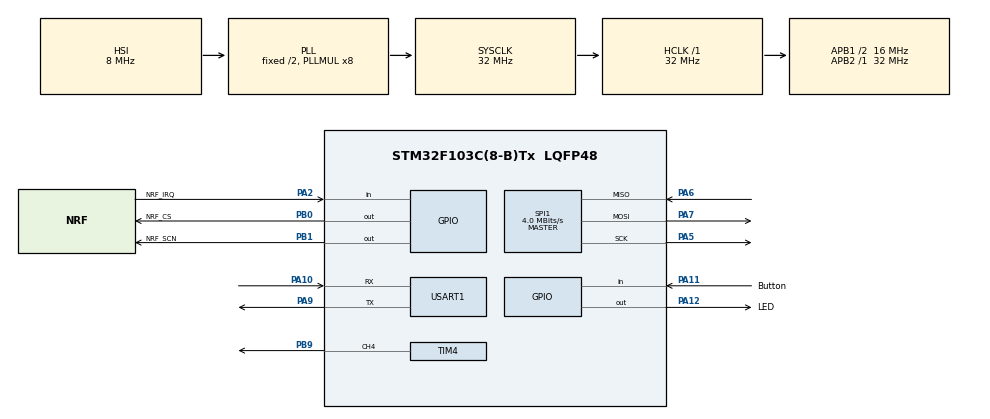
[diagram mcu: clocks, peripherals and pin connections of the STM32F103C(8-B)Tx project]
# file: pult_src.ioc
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Mcu.Family=STM32F1
Mcu.Name=STM32F103C(8-B)Tx
Mcu.Package=LQFP48
NVIC.PriorityGroup=NVIC_PRIORITYGROUP_4
PA10.Mode=Asynchronous
PA10.Signal=USART1_RX
PA11.GPIO_Label=Button
PA11.GPIO_PuPd=GPIO_PULLUP
PA11.Signal=GPIO_Input
PA12.GPIO_Label=LED
PA12.Signal=GPIO_Output
PA13.Mode=Serial_Wire
PA13.Signal=SYS_JTMS-SWDIO
PA14.Mode=Serial_Wire
PA14.Signal=SYS_JTCK-SWCLK
PA2.GPIO_Label=NRF_IRQ
PA2.Signal=GPIO_Input
PA5.Mode=Full_Duplex_Master
PA5.Signal=SPI1_SCK
PA6.Mode=Full_Duplex_Master
PA6.Signal=SPI1_MISO
PA7.Mode=Full_Duplex_Master
PA7.Signal=SPI1_MOSI
PA9.Mode=Asynchronous
PA9.Signal=USART1_TX
PB0.GPIO_Label=NRF_CS
PB0.Signal=GPIO_Output
PB1.GPIO_Label=NRF_SCN
PB1.Signal=GPIO_Output
PB9.Signal=S_TIM4_CH4
ProjectManager.HeapSize=0x200
ProjectManager.StackSize=0x1000
ProjectManager.TargetToolchain=SW4STM32
RCC.AHBFreq_Value=32000000
RCC.APB1CLKDivider=RCC_HCLK_DIV2
RCC.APB1Freq_Value=16000000
RCC.APB1TimFreq_Value=32000000
RCC.APB2Freq_Value=32000000
RCC.APB2TimFreq_Value=32000000
RCC.HCLKFreq_Value=32000000
RCC.PLLMUL=RCC_PLL_MUL8
RCC.SYSCLKFreq_VALUE=32000000
RCC.SYSCLKSource=RCC_SYSCLKSOURCE_PLLCLK
RCC.USBFreq_Value=32000000
SH.S_TIM4_CH4.0=TIM4_CH4,PWM Generation4 CH4
SPI1.BaudRatePrescaler=SPI_BAUDRATEPRESCALER_8
SPI1.CalculateBaudRate=4.0 MBits/s
SPI1.Direction=SPI_DIRECTION_2LINES
SPI1.Mode=SPI_MODE_MASTER
SPI1.VirtualType=VM_MASTER
TIM4.Channel-PWM\ Generation4\ CH4=TIM_CHANNEL_4
TIM4.Period=160-1
TIM4.Prescaler=8-1
TIM4.Pulse-PWM\ Generation4\ CH4=80
USART1.VirtualMode=VM_ASYNC
board=custom

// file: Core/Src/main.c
/* USER CODE BEGIN Header */
/**
******************************************************************************
* @file           : main.c
* @brief          : Main program body
******************************************************************************
** This notice applies to any and all portions of this file
* that are not between comment pairs USER CODE BEGIN and
* USER CODE END. Other portions of this file, whether
* inserted by the user or by software development tools
* are owned by their respective copyright owners.
*
* COPYRIGHT(c) 2018 STMicroelectronics
*
* Redistribution and use in source and binary forms, with or without modification,
* are permitted provided that the following conditions are met:
*   1. Redistributions of source code must retain the above copyright notice,
*      this list of conditions and the following disclaimer.
*   2. Redistributions in binary form must reproduce the above copyright notice,
*      this list of conditions and the following disclaimer in the documentation
*      and/or other materials provided with the distribution.
*   3. Neither the name of STMicroelectronics nor the names of its contributors
*      may be used to endorse or promote products derived from this software
*      without specific prior written permission.
*
* THIS SOFTWARE IS PROVIDED BY THE COPYRIGHT HOLDERS AND CONTRIBUTORS "AS IS"
* AND ANY EXPRESS OR IMPLIED WARRANTIES, INCLUDING, BUT NOT LIMITED TO, THE
* IMPLIED WARRANTIES OF MERCHANTABILITY AND FITNESS FOR A PARTICULAR PURPOSE ARE
* DISCLAIMED. IN NO EVENT SHALL THE COPYRIGHT HOLDER OR CONTRIBUTORS BE LIABLE
* FOR ANY DIRECT, INDIRECT, INCIDENTAL, SPECIAL, EXEMPLARY, OR CONSEQUENTIAL
* DAMAGES (INCLUDING, BUT NOT LIMITED TO, PROCUREMENT OF SUBSTITUTE GOODS OR
* SERVICES; LOSS OF USE, DATA, OR PROFITS; OR BUSINESS INTERRUPTION) HOWEVER
* CAUSED AND ON ANY THEORY OF LIABILITY, WHETHER IN CONTRACT, STRICT LIABILITY,
* OR TORT (INCLUDING NEGLIGENCE OR OTHERWISE) ARISING IN ANY WAY OUT OF THE USE
* OF THIS SOFTWARE, EVEN IF ADVISED OF THE POSSIBILITY OF SUCH DAMAGE.
*
******************************************************************************
*/
/* USER CODE END Header */

#include "main.h"
#include "spi.h"
#include "tim.h"
#include "usart.h"
#include "gpio.h"

/* USER CODE BEGIN Includes */
#include "nrf24.h"
/* USER CODE END Includes */

void SystemClock_Config(void);

/* USER CODE BEGIN 0 */
int _write(int file, char *ptr, int len)
{
    //CDC_Transmit_FS((uint8_t*)ptr, len);
    HAL_UART_Transmit(&huart1, (uint8_t*)ptr, len, 10);
    return len;
}
/* USER CODE END 0 */

int main(void)
{

  /* MCU Configuration--------------------------------------------------------*/

  /* Reset of all peripherals, Initializes the Flash interface and the Systick. */
  HAL_Init();

  /* Configure the system clock */
  SystemClock_Config();

  /* Initialize all configured peripherals */
  MX_GPIO_Init();
  MX_SPI1_Init();
  MX_USART1_UART_Init();
  MX_TIM4_Init();
  /* USER CODE BEGIN 2 */
    printf("Hello norilsk!\n");

    // Buffer to store a payload of maximum width
    uint8_t nRF24_payload[32];

// Pipe number
    nRF24_RXResult pipe;

// Length of received payload
    uint8_t payload_length;
    NRF24 n;
    printf("Hello, norilsk\n");
    nRF24_Init(&n, &hspi1,
               NRF_CS_GPIO_Port, NRF_CS_Pin,
               NRF_SCN_GPIO_Port, NRF_SCN_Pin,
               NRF_IRQ_GPIO_Port, NRF_IRQ_Pin);
    printf("nrf24 inited\n");
    //if(nRF24_Check(&n))
    //    printf("nrf24 OK %d\n", nRF24_GetStatus(&n));
    //else
    //    printf("nrf24 ERR\n");

    uint8_t addr[] = "00001";
    nRF24_openWritingPipe(&n, addr, 5);
    nRF24_SetTXPower(&n, nRF24_TXPWR_0dBm);
    nRF24_stopListening(&n);

    // Put the transceiver to the RX mode
    printf("n1 %d\n", nRF24_GetStatus(&n));
    // The main loop
    int i = 1;
    while (1) {
        if(HAL_GPIO_ReadPin(Button_GPIO_Port, Button_Pin)) {
            char text[] = "P61";
            nRF24_write(&n, text, sizeof(text));
        }
        else {
            char text[] = "P60";
            nRF24_write(&n, text, sizeof(text));
        }
        HAL_Delay(50);
    }

  /* USER CODE END 2 */

  /* Infinite loop */

}

void SystemClock_Config(void)
{
  RCC_OscInitTypeDef RCC_OscInitStruct = {0};
  RCC_ClkInitTypeDef RCC_ClkInitStruct = {0};

  /**Initializes the CPU, AHB and APB busses clocks
  */
  RCC_OscInitStruct.OscillatorType = RCC_OSCILLATORTYPE_HSI;
  RCC_OscInitStruct.HSIState = RCC_HSI_ON;
  RCC_OscInitStruct.HSICalibrationValue = RCC_HSICALIBRATION_DEFAULT;
  RCC_OscInitStruct.PLL.PLLState = RCC_PLL_ON;
  RCC_OscInitStruct.PLL.PLLSource = RCC_PLLSOURCE_HSI_DIV2;
  RCC_OscInitStruct.PLL.PLLMUL = RCC_PLL_MUL8;
  if (HAL_RCC_OscConfig(&RCC_OscInitStruct) != HAL_OK)
  {
    Error_Handler();
  }
  /**Initializes the CPU, AHB and APB busses clocks
  */
  RCC_ClkInitStruct.ClockType = RCC_CLOCKTYPE_HCLK|RCC_CLOCKTYPE_SYSCLK
                              |RCC_CLOCKTYPE_PCLK1|RCC_CLOCKTYPE_PCLK2;
  RCC_ClkInitStruct.SYSCLKSource = RCC_SYSCLKSOURCE_PLLCLK;
  RCC_ClkInitStruct.AHBCLKDivider = RCC_SYSCLK_DIV1;
  RCC_ClkInitStruct.APB1CLKDivider = RCC_HCLK_DIV2;
  RCC_ClkInitStruct.APB2CLKDivider = RCC_HCLK_DIV1;

  if (HAL_RCC_ClockConfig(&RCC_ClkInitStruct, FLASH_LATENCY_1) != HAL_OK)
  {
    Error_Handler();
  }
}

void Error_Handler(void)
{
}

/************************ (C) COPYRIGHT STMicroelectronics *****END OF FILE****/
